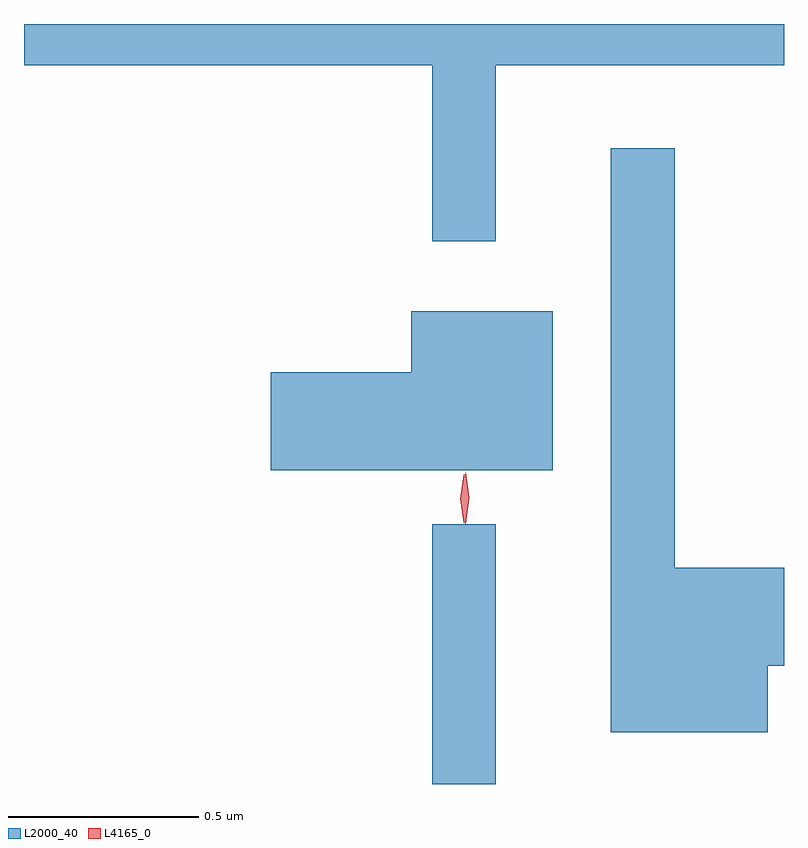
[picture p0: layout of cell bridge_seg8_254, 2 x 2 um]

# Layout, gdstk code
import gdstk
lib = gdstk.Library(unit=1e-6, precision=1e-09)
def R(c, l, rs):  # rectangles x0, y0, x1, y1
    for r in rs: c.add(gdstk.rectangle(r[:2], r[2:], *l))
def P(c, l, *ps):  # polygons
    for p in ps: c.add(gdstk.Polygon(p, *l))
L2000_40 = (2000, 40)
L4165_0 = (4165, 0)

bridge_seg8_254 = lib.new_cell('bridge_seg8_254')
R(bridge_seg8_254, L2000_40, [(1055.991,1812.325,1056.159,1813.008)])
P(bridge_seg8_254, L2000_40, [(1056.159,1814.216),(1056.917,1814.216),(1056.917,1814.325),(1054.917,1814.325),(1054.917,1814.216),(1055.991,1814.216),(1055.991,1813.753),(1056.159,1813.753)],
  [(1056.874,1812.636),(1056.917,1812.636),(1056.917,1812.894),(1056.629,1812.894),(1056.629,1813.998),(1056.461,1813.998),(1056.461,1812.461),(1056.874,1812.461)],
  [(1056.309,1813.569),(1055.936,1813.569),(1055.936,1813.409),(1055.566,1813.409),(1055.566,1813.151),(1056.309,1813.151)])
P(bridge_seg8_254, L4165_0, [(1056.078,1813.01),(1056.078,1813.01),(1056.069,1813.078),(1056.079,1813.145),(1056.08,1813.146),(1056.08,1813.145),(1056.089,1813.078),(1056.079,1813.01)],
  [(1056.074,1813.013),(1056.065,1813.076),(1056.074,1813.139),(1056.075,1813.14),(1056.075,1813.139),(1056.085,1813.076),(1056.075,1813.013),(1056.075,1813.013)])

lib.write_gds('bridge_seg8_254.gds')
